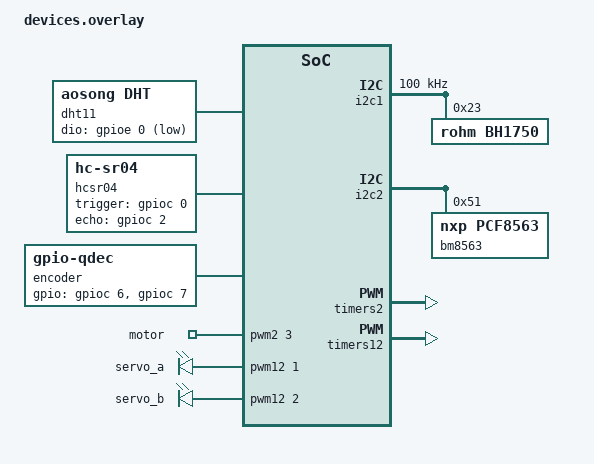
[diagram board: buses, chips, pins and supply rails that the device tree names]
/* rtc, dht11, hcsr04, bh1750, encoder, motor (PWM), servo, ethernet: from the READMEs. */
#include <zephyr/dt-bindings/input/input-event-codes.h>

/ {
	dht11: dht11 {
		compatible = "aosong,dht";
		dio-gpios = <&gpioe 0 (GPIO_ACTIVE_LOW | GPIO_OPEN_DRAIN | GPIO_PULL_UP)>;
	};

	hcsr04: hcsr04 {
		compatible = "hc-sr04";
		trigger-gpios = <&gpioc 0 GPIO_ACTIVE_HIGH>;
		echo-gpios = <&gpioc 2 GPIO_ACTIVE_HIGH>;
	};

	encoder: encoder {
		compatible = "gpio-qdec";
		gpios = <&gpioc 6 (GPIO_ACTIVE_HIGH | GPIO_PULL_UP)>,
			<&gpioc 7 (GPIO_ACTIVE_HIGH | GPIO_PULL_UP)>;
		steps-per-period = <4>;
		zephyr,axis = <INPUT_REL_WHEEL>;
		sample-time-us = <2000>;
		idle-timeout-ms = <200>;
	};

	motor_pwm {
		compatible = "pwm-leds";
		motor: motor_0 {
			pwms = <&pwm2 3 PWM_KHZ(1) PWM_POLARITY_NORMAL>;
		};
	};

	servos {
		compatible = "pwm-leds";
		servo_a: servo_0 {
			pwms = <&pwm12 1 PWM_MSEC(20) PWM_POLARITY_NORMAL>;
		};
		servo_b: servo_1 {
			pwms = <&pwm12 2 PWM_MSEC(20) PWM_POLARITY_NORMAL>;
		};
	};

	aliases {
		rtc0 = &bm8563;
		dht0 = &dht11;
		distance0 = &hcsr04;
		light0 = &bh1750;
		encoder0 = &encoder;
		motor0 = &motor;
		servo0 = &servo_a;
		servo1 = &servo_b;
	};
};

&gpioe { status = "okay"; };

/* With CONFIG_INPUT=y every gpio-keys node of the board needs a key code */
&user_btn { zephyr,code = <INPUT_KEY_ENTER>; };
&input_1 { zephyr,code = <INPUT_KEY_1>; };
&input_2 { zephyr,code = <INPUT_KEY_2>; };
&input_3 { zephyr,code = <INPUT_KEY_3>; };

/* Pins taken from these peripherals of the board DTS */
&usart1 { status = "disabled"; };  /* PB14, PB15: servos */
&usart2 { status = "disabled"; };  /* PA2: motor */
&usart6 { status = "disabled"; };  /* PC6, PC7: encoder */
&spi2 { status = "disabled"; };    /* PC0, PC2: HC-SR04 */

&i2c1 {
	clock-frequency = <I2C_BITRATE_STANDARD>;
	bh1750: bh1750@23 {
		compatible = "rohm,bh1750";
		reg = <0x23>;
	};
};

&i2c2 {
	bm8563: rtc@51 {
		compatible = "nxp,pcf8563";
		reg = <0x51>;
	};
};

&pinctrl {
	tim2_ch3_pa2: tim2_ch3_pa2 {
		pinmux = <STM32_PINMUX('A', 2, AF1)>;
	};
	tim12_ch1_pb14: tim12_ch1_pb14 {
		pinmux = <STM32_PINMUX('B', 14, AF2)>;
	};
	tim12_ch2_pb15: tim12_ch2_pb15 {
		pinmux = <STM32_PINMUX('B', 15, AF2)>;
	};
};

&timers2 {
	st,prescaler = <0>;
	status = "okay";
	pwm2: pwm {
		pinctrl-0 = <&tim2_ch3_pa2>;
		pinctrl-names = "default";
		status = "okay";
	};
};

&timers12 {
	st,prescaler = <99>;
	status = "okay";
	pwm12: pwm {
		pinctrl-0 = <&tim12_ch1_pb14 &tim12_ch2_pb15>;
		pinctrl-names = "default";
		status = "okay";
	};
};

&w5500 {
	local-mac-address = [00 08 DC 01 02 07];
};
